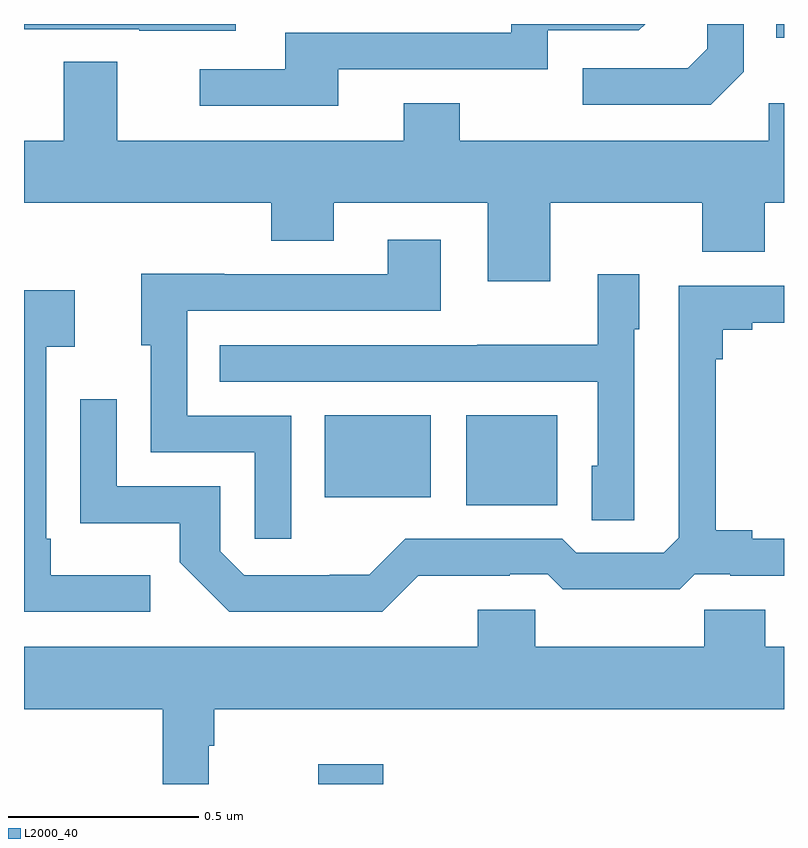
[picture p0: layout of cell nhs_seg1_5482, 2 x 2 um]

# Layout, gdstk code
import gdstk
lib = gdstk.Library(unit=1e-6, precision=1e-09)
def R(c, l, rs):  # rectangles x0, y0, x1, y1
    for r in rs: c.add(gdstk.rectangle(r[:2], r[2:], *l))
def P(c, l, *ps):  # polygons
    for p in ps: c.add(gdstk.Polygon(p, *l))
L2000_40 = (2000, 40)

nhs_seg1_5482 = lib.new_cell('nhs_seg1_5482')
R(nhs_seg1_5482, L2000_40, [(179.774,554.199,179.945,554.251), (180.164,554.933,180.403,555.169), (179.792,554.954,180.07,555.169), (180.979,556.163,181,556.199)])
P(nhs_seg1_5482, L2000_40, [(180.894,556.074),(180.894,556.199),(180.798,556.199),(180.798,556.134),(180.747,556.083),(180.471,556.083),(180.471,555.987),(180.807,555.987)],
  [(179.827,556.08),(180.378,556.08),(180.378,556.182),(180.618,556.182),(180.635,556.199),(180.282,556.199),(180.282,556.176),(179.687,556.176),(179.687,556.08),(179.463,556.08),(179.463,555.984),(179.827,555.984)],
  [(179.557,556.199),(179,556.199),(179,556.185),(179.303,556.185),(179.303,556.181),(179.557,556.181)],
  [(180.385,555.728),(180.785,555.728),(180.785,555.6),(180.949,555.6),(180.949,555.728),(181,555.728),(181,555.991),(180.96,555.991),(180.96,555.892),(180.147,555.892),(180.147,555.991),(179.999,555.991),(179.999,555.892),(179.245,555.892),(179.245,556.1),(179.105,556.1),(179.105,555.892),(179,555.892),(179,555.728),(179.651,555.728),(179.651,555.629),(179.815,555.629),(179.815,555.728),(180.221,555.728),(180.221,555.522),(180.385,555.522)],
  [(179.703,555.168),(179.43,555.168),(179.43,555.444),(180.097,555.444),(180.097,555.631),(179.957,555.631),(179.957,555.54),(179.527,555.54),(179.527,555.542),(179.309,555.542),(179.309,555.354),(179.334,555.354),(179.334,555.072),(179.607,555.072),(179.607,554.844),(179.703,554.844)],
  [(180.606,555.396),(180.619,555.396),(180.619,555.541),(180.51,555.541),(180.51,555.355),(180.193,555.355),(180.193,555.354),(179.515,555.354),(179.515,555.258),(180.51,555.258),(180.51,555.036),(180.494,555.036),(180.494,554.893),(180.606,554.893)],
  [(180.038,554.747),(180.278,554.747),(180.278,554.751),(180.378,554.751),(180.418,554.712),(180.725,554.712),(180.765,554.751),(180.859,554.751),(180.859,554.747),(181,554.747),(181,554.844),(180.916,554.844),(180.916,554.867),(180.821,554.867),(180.821,555.317),(180.839,555.317),(180.839,555.394),(180.916,555.394),(180.916,555.413),(181,555.413),(181,555.51),(180.723,555.51),(180.723,554.847),(180.684,554.808),(180.453,554.808),(180.417,554.844),(180.003,554.844),(179.909,554.75),(179.804,554.75),(179.804,554.748),(179.58,554.748),(179.517,554.811),(179.517,554.982),(179.244,554.982),(179.244,555.211),(179.148,555.211),(179.148,554.885),(179.41,554.885),(179.41,554.783),(179.54,554.652),(179.943,554.652)],
  [(179.332,554.749),(179.071,554.749),(179.071,554.845),(179.058,554.845),(179.058,555.35),(179.134,555.35),(179.134,555.499),(179,555.499),(179,554.652),(179.332,554.652)],
  [(179.486,554.3),(179.501,554.3),(179.501,554.396),(181,554.396),(181,554.56),(180.95,554.56),(180.95,554.658),(180.79,554.658),(180.79,554.56),(180.345,554.56),(180.345,554.658),(180.194,554.658),(180.194,554.56),(179,554.56),(179,554.396),(179.365,554.396),(179.365,554.199),(179.486,554.199)])

lib.write_gds('nhs_seg1_5482.gds')
